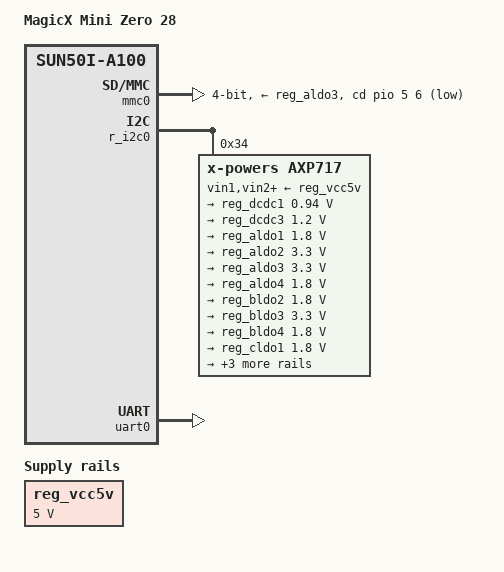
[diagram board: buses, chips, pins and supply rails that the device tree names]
// SPDX-License-Identifier: (GPL-2.0+ OR MIT)
/*
 * Copyright (c) 2025 Arm Ltd.
 */

/dts-v1/;

#include "sun50i-a100.dtsi"

#include <dt-bindings/gpio/gpio.h>

/{
	model = "MagicX Mini Zero 28";
	compatible = "magicx,mini-zero-28", "allwinner,sun50i-a100";

	aliases {
		serial0 = &uart0;
	};

    chosen {
		stdout-path = "serial0:115200n8";
	};

	reg_vcc5v: regulator-vcc5v { /* USB-C power input */
		compatible = "regulator-fixed";
		regulator-name = "vcc-5v";
		regulator-min-microvolt = <5000000>;
		regulator-max-microvolt = <5000000>;
	};
};

&cpu0 {
	/* using not yet implemented reg TCS4838 */
};

&mmc0 {
	vmmc-supply = <&reg_aldo3>;
	cd-gpios = <&pio 5 6 GPIO_ACTIVE_LOW>; /* PF6 */
	bus-width = <4>;
	status = "okay";
};

&pio {
	vcc-pa-supply = <&reg_cldo3>;
	vcc-pc-supply = <&reg_cldo3>;
	vcc-pe-supply = <&reg_cldo3>;
	vcc-pf-supply = <&reg_cldo3>;
	vcc-pg-supply = <&reg_aldo4>;
	vcc-ph-supply = <&reg_cldo3>;
	vcc-pi-supply = <&reg_cldo3>;
};

&r_i2c0 {
	status = "okay";

	axp717: pmic@34 {
		compatible = "x-powers,axp717";
		reg = <0x34>;
		interrupt-controller;
		#interrupt-cells = <1>;
		interrupt-parent = <&r_intc>;
		interrupts = <0 IRQ_TYPE_LEVEL_LOW>;

		vin1-supply = <&reg_vcc5v>;
		vin2-supply = <&reg_vcc5v>;
		vin3-supply = <&reg_vcc5v>;
		vin4-supply = <&reg_vcc5v>;

		regulators {
			reg_dcdc1: dcdc1 {
				regulator-always-on;
				regulator-min-microvolt = <940000>;
				regulator-max-microvolt = <940000>;
			};

			reg_dcdc2: dcdc2 {
				/* unused */
			};

			reg_dcdc3: dcdc3 {
				regulator-always-on;
				regulator-min-microvolt = <1200000>;
				regulator-max-microvolt = <1200000>;
			};

			reg_aldo1: aldo1 {
				regulator-min-microvolt = <1800000>;
				regulator-max-microvolt = <1800000>;
			};

			reg_aldo2: aldo2 {
				regulator-min-microvolt = <3300000>;
				regulator-max-microvolt = <3300000>;
			};

			reg_aldo3: aldo3 {
				regulator-always-on;
				regulator-min-microvolt = <3300000>;
				regulator-max-microvolt = <3300000>;
			};

			reg_aldo4: aldo4 {
				regulator-min-microvolt = <1800000>;
				regulator-max-microvolt = <1800000>;
			};

			reg_bldo1: bldo1 {
				/* unused */
			};

			reg_bldo2: bldo2 {
				regulator-min-microvolt = <1800000>;
				regulator-max-microvolt = <1800000>;
			};

			reg_bldo3: bldo3 {
				regulator-min-microvolt = <3300000>;
				regulator-max-microvolt = <3300000>;
			};

			reg_bldo4: bldo4 {
				regulator-min-microvolt = <1800000>;
				regulator-max-microvolt = <1800000>;
			};

			reg_cldo1: cldo1 {
				regulator-min-microvolt = <1800000>;
				regulator-max-microvolt = <1800000>;
			};

			reg_cldo2: cldo2 {
				/* unused */
			};

			reg_cldo3: cldo3 {
				regulator-always-on;
				regulator-min-microvolt = <3300000>;
				regulator-max-microvolt = <3300000>;
				regulator-name = "vcc-io";
			};

			reg_cldo4: cldo4 {
				regulator-min-microvolt = <3300000>;
				regulator-max-microvolt = <3300000>;
			};

			reg_boost: boost {
				/* unused */
			};

			reg_cpusldo: cpusldo {
				regulator-min-microvolt = <900000>;
				regulator-max-microvolt = <900000>;
			};
		};
	};
};

&uart0 {
	pinctrl-names = "default";
	pinctrl-0 = <&uart0_pb_pins>;
	status = "okay";
};
